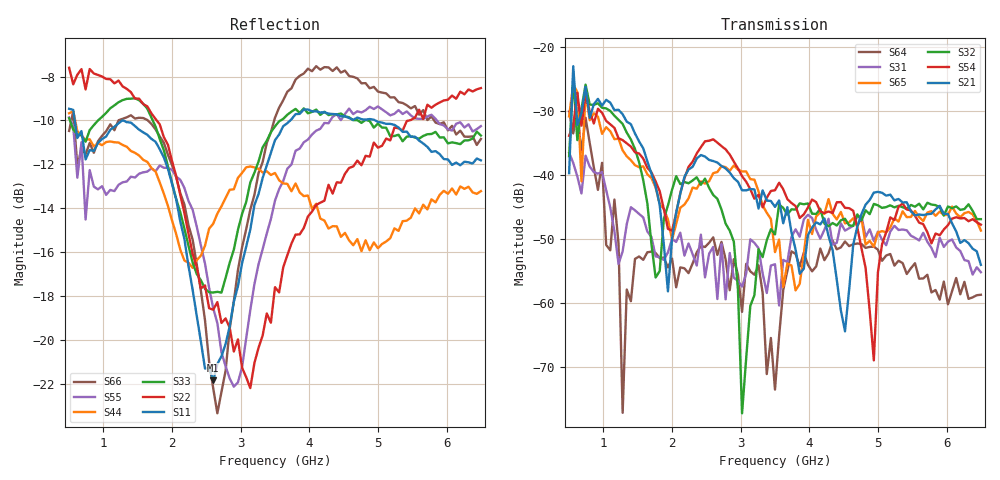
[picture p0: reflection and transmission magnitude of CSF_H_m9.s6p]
!Keysight Technologies,M9804A,MY58100912,A.14.10.03
!Date: Thursday, April 27, 2023 10:28:33
!Correction: S11(C  6-Port  )
!S12(C  6-Port  )
!S13(C  6-Port  )
!S14(C  6-Port  )
!S15(C  6-Port  )
!S16(C  6-Port  )
!S21(C  6-Port  )
!S22(C  6-Port  )
!S23(C  6-Port  )
!S24(C  6-Port  )
!S25(C  6-Port  )
!S26(C  6-Port  )
!S31(C  6-Port  )
!S32(C  6-Port  )
!S33(C  6-Port  )
!S34(C  6-Port  )
!S35(C  6-Port  )
!S36(C  6-Port  )
!S41(C  6-Port  )
!S42(C  6-Port  )
!S43(C  6-Port  )
!S44(C  6-Port  )
!S45(C  6-Port  )
!S46(C  6-Port  )
!S51(C  6-Port  )
!S52(C  6-Port  )
!S53(C  6-Port  )
!S54(C  6-Port  )
!S55(C  6-Port  )
!S56(C  6-Port  )
!S61(C  6-Port  )
!S62(C  6-Port  )
!S63(C  6-Port  )
!S64(C  6-Port  )
!S65(C  6-Port  )
!S66(C  6-Port  )
!S6P File: Measurement: :
# Hz S  RI  R 50
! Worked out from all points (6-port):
!   101 points, 500 MHz to 6.5 GHz, reference 50 ohm
!   strongest paths, dB at 500 MHz, 2 GHz, 3.5 GHz, 5 GHz, 6.5 GHz:
!     S21: -39.7, -49.9, -44.9, -42.6, -54.0
!     S54: -33.8, -48.7, -42.3, -55.2, -47.7
!     S32: -37.0, -42.3, -49.3, -44.7, -46.9
!     S65: -30.8, -50.1, -52.0, -49.0, -48.7
!     S31: -36.5, -50.0, -53.9, -48.8, -55.2
!     S64: -30.0, -53.0, -73.6, -51.7, -58.7
!   lowest |S11| = -21.9 dB at 2.6 GHz (marker M1), VSWR 1.18, Z = 42.8 + j1.92 ohm
!   |S11| at or under -10 dB: 582.5 MHz to 1.276 GHz (693.2 MHz wide, 74.6 % of centre); 1.287 GHz to 3.722 GHz (2.435 GHz wide, 97.2 % of centre); 4.961 GHz to end of sweep
